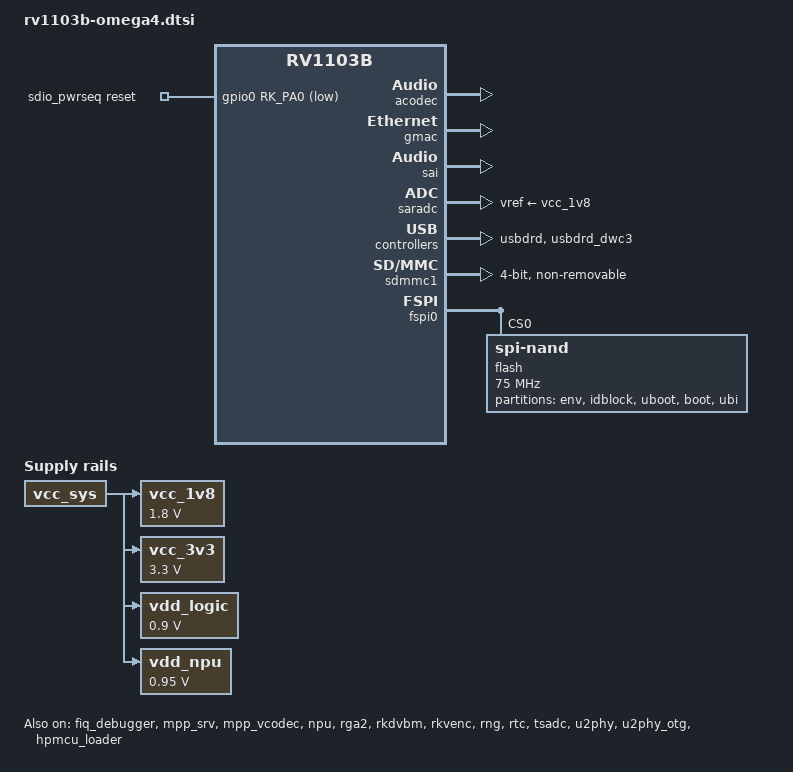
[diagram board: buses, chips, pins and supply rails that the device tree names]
// SPDX-License-Identifier: (GPL-2.0+ OR MIT)
/*
 * Copyright (c) 2024 Rockchip Electronics Co., Ltd
 * Copyright (c) 2025 Onion Corporation
 */
#include <dt-bindings/input/input.h>

/ {
	chosen {
		/*  bootargs = "earlycon=uart8250,mmio32,0x20540000 console=ttyFIQ0 root=/dev/mmcblk0p5 rootfstype=ext4 rootwait snd_soc_core.prealloc_buffer_size_kbytes=16 coherent_pool=32K"; */
		bootargs = "earlycon=uart8250,mmio32,0x20540000 console=ttyS0,115200";
	};

	reserved-memory {
		#address-cells = <1>;
		#size-cells = <1>;
		ranges;

		hpmcu_rtos: hpmcu-rtos@1000000 {
			reg = <0x01000000 0x40000>;
			no-map;
		};
	};

	sgrf: syscon@20250000 {
		compatible = "rockchip,rv1103b-sgrf", "syscon";
		reg = <0x20250000 0x1000>;
	};

	hpmcu_loader: hpmcu-loader {
		compatible = "onion,omega4-hpmcu-loader";
		memory-region = <&hpmcu_rtos>;
		rockchip,ioc = <&ioc>;
		rockchip,grf = <&grf>;
		rockchip,sgrf = <&sgrf>;
		rockchip,cache-peri-start = <0x20000000>;
		rockchip,cache-peri-end = <0x210fffff>;
		rockchip,cache-misc = <0x00080000>;
		rockchip,use-sip;
		rockchip,sip-code-addr = <0x01000000>;
		rockchip,sip-sram-addr = <0x01000000>;
		rockchip,program-grf-map;
		entry-addr = <0x01000000>;
		heartbeat-offset = <0x804>;
		reg = <0x20250080 0x4>, <0x20150218 0x4>;
		reg-names = "boot-addr", "cache-status";
		resets = <&cru SRST_RESETN_HPMCU_FULL_CLUSTER>,
			 <&cru SRST_RESETN_HPMCU_PWUP>,
			 <&cru SRST_RESETN_HPMCU_ONLY_CORE>;
		reset-names = "cluster", "pwup", "core";
		clocks = <&cru HCLK_HPMCU>,
			 <&cru CLK_HPMCU>,
			 <&cru PCLK_HPMCU_INTMUX>,
			 <&cru PCLK_HPMCU_MAILBOX>,
			 <&cru PCLK_WDT_HPMCU>,
			 <&cru TCLK_WDT_HPMCU>,
			 <&cru HCLK_CACHE>,
			 <&cru ACLK_SYS_SRAM>;
		clock-names = "hclk", "core", "intmux", "pclk-mailbox",
			      "pclk-wdt", "tclk-wdt", "hclk-cache", "aclk-sram";
		firmware-name = "omega4/rv1103b-hpmcu-bare.bin";
		boot-offset = <0x0>;
		auto-boot;
		status = "okay";
	};

	hpmcu_mailbox: hpmcu-mailbox {
		compatible = "onion,omega4-hpmcu-mailbox";
		mboxes = <&hpmcu_mbox0 0>;
		mbox-names = "hpmcu";
		auto-ping;
		status = "okay";
	};

	acodec_sound: acodec-sound {
		compatible = "simple-audio-card";
		simple-audio-card,name = "rv1103b-acodec";
		simple-audio-card,format = "i2s";
		simple-audio-card,mclk-fs = <256>;
		simple-audio-card,cpu {
			sound-dai = <&sai>;
		};
		simple-audio-card,codec {
			sound-dai = <&acodec>;
		};
	};

	restart-poweroff {
		compatible = "restart-poweroff";
	};

	vcc_sys: vcc-sys {
		compatible = "regulator-fixed";
		regulator-name = "vcc_sys";
		regulator-always-on;
		regulator-boot-on;
	};

	vcc_1v8: vcc-1v8 {
		compatible = "regulator-fixed";
		regulator-name = "vcc_1v8";
		regulator-always-on;
		regulator-boot-on;
		regulator-min-microvolt = <1800000>;
		regulator-max-microvolt = <1800000>;
		vin-supply = <&vcc_sys>;
	};

	vcc_3v3: vcc-3v3 {
		compatible = "regulator-fixed";
		regulator-name = "vcc_3v3";
		regulator-always-on;
		regulator-boot-on;
		regulator-min-microvolt = <3300000>;
		regulator-max-microvolt = <3300000>;
		vin-supply = <&vcc_sys>;
	};

	vdd_logic: vdd-logic {
		compatible = "regulator-fixed";
		regulator-name = "vdd_logic";
		regulator-min-microvolt = <900000>;
		regulator-max-microvolt = <900000>;
		regulator-always-on;
		regulator-boot-on;
		vin-supply = <&vcc_sys>;
	};

	vdd_npu: vdd_arm: vdd-arm {
		compatible = "regulator-fixed";
		regulator-name = "vdd_arm";
		regulator-min-microvolt = <950000>;
		regulator-max-microvolt = <950000>;
		regulator-always-on;
		regulator-boot-on;
		vin-supply = <&vcc_sys>;
	};

	/* Omega4 module: Wi-Fi/BT (AIC8800 SDIO) */
	sdio_pwrseq: sdio-pwrseq {
		compatible = "mmc-pwrseq-simple";
		pinctrl-names = "default";
		pinctrl-0 = <&wifi_pwr_wf>;
		post-power-on-delay-ms = <300>;

		/* real Wi-Fi power/reset: PWR_WF = GPIO0_A0 */
		reset-gpios = <&gpio0 RK_PA0 GPIO_ACTIVE_LOW>;
	};

	wifi: wifi {
		compatible = "wlan-platdata";
		wifi_chip_type = "aic8800";
		status = "okay";
	};
};

&acodec {
	status = "okay";
};

&hpmcu_mbox0 {
	status = "okay";
};

&cpu0 {
	cpu-supply = <&vdd_arm>;
};

&fiq_debugger {
	rockchip,irq-mode-enable = <1>;
	status = "okay";
};

&gmac {
	status = "okay";
	nvmem-cells = <&macphy_bgs>, <&macaddr_env_ethaddr 0>;
	nvmem-cell-names = "bgs", "mac-address";
};

&mpp_srv {
	status = "okay";
};

&mpp_vcodec {
	status = "okay";
};

&npu {
	rknpu-supply = <&vdd_npu>;
	status = "okay";
};

// we might want to have this as GPIO
&pwm0_4ch_0 {
	status = "disabled";
};

// we might want to have this as GPIO
&pwm0_4ch_3 {
	status = "disabled";
};

&rga2 {
	status = "okay";
};

&rkdvbm {
	status = "okay";
};

&rkvenc {
	status = "okay";
};

&rmii_phy {
	bgs,increment = <0>;
};

&rng {
	status = "okay";
};

&rtc {
	status = "okay";
};

&sai {
	status = "okay";
};

&saradc{
	status = "okay";
	vref-supply = <&vcc_1v8>;
};

&tsadc {
	status = "okay";
};

// UART0 can be exposed with M0 or M2, so we do not set a default
&uart0 {
 	status = "disabled";
};

// UART1 is only exposed on Omega4 in M1 state, so set this as default
&uart1 {
	status = "disabled";
 	pinctrl-names = "default";
 	pinctrl-0 = <&uart1m1_xfer_pins>;
};

&u2phy {
	status = "okay";
};

&u2phy_otg {
	rockchip,vbus-always-on;
	rockchip,force-vbus-valid;
	status = "okay";
};

&usbdrd {
	status = "okay";
};

&usbdrd_dwc3 {
	extcon = <&u2phy>;
	usb-role-switch;
	role-switch-default-mode = "host";
	status = "okay";
};

&pinctrl {
	sdio-pwrseq {
		wifi_pwr_wf: wifi-pwr-wf {
			rockchip,pins = <0 RK_PA0 RK_FUNC_GPIO &pcfg_pull_none>;
		};
	};
};



/* Omega4 module specific HW use */
&sdmmc1 {
	max-frequency = <45000000>;
	supports-sdio;
	bus-width = <4>;
	cap-sd-highspeed;
	cap-sdio-irq;
	keep-power-in-suspend;
	rockchip,default-sample-phase = <270>;
	
	non-removable;
	no-1-8-v;
	no-sd;
    no-mmc;
    no-sd-uhs;

	// mmc-pwrseq = <&sdio_pwrseq>;
	// vmmc-supply = <&vcc3v3_sd>;

	pinctrl-names = "default";
	pinctrl-0 = <&sdmmc1_cmd_pins &sdmmc1_clk_pins &sdmmc1_bus4_pins>;
	status = "okay";
};

// UART2 previously routed to BT; no longer used when BT runs over SDIO
&uart2 {
	status = "disabled";
};

// FSPI0 (aliased as SPI1) is connected to on-board W25N02KVZEIR QSPI NAND flash
&fspi0 {
	status = "okay";
	flash@0 {
		compatible = "spi-nand";
		reg = <0>;
		spi-max-frequency = <75000000>;
		spi-rx-bus-width = <4>; // can fast quad read
		spi-tx-bus-width = <1>; // cannot quad write

		partitions {
			compatible = "fixed-partitions";
			#address-cells = <1>;
			#size-cells = <1>;

			partition@0 {
				compatible = "u-boot,env";
				label = "env";
				reg = <0x00000000 0x00040000>;

				macaddr_env_ethaddr: ethaddr {
					#nvmem-cell-cells = <1>;
				};
			};

			partition@40000 {
				label = "idblock";
				reg = <0x00040000 0x00100000>;
				read-only;
			};

			partition@140000 {
				label = "uboot";
				reg = <0x00140000 0x00100000>;
				read-only;
			};

			partition@240000 {
				label = "boot";
				reg = <0x00240000 0x00800000>;
			};

			partition@a40000 {
				label = "ubi";
				reg = <0x00a40000 0x0f5c0000>;
			};
		};
	};
};
